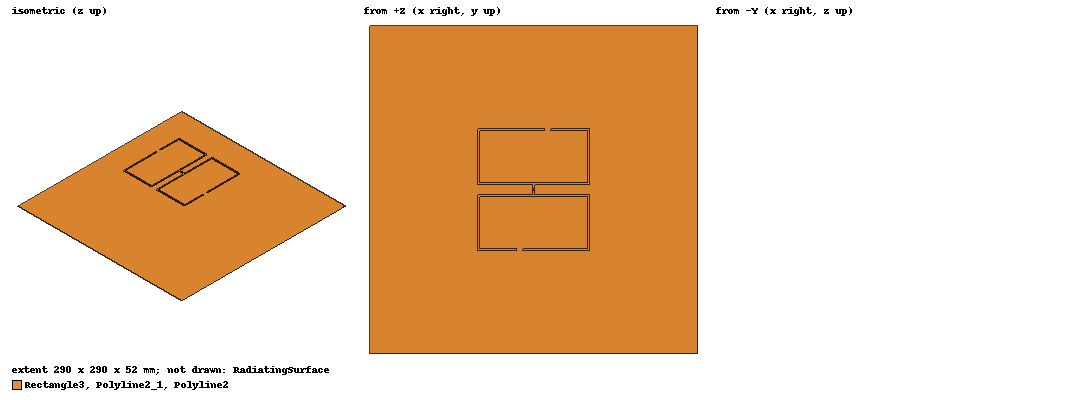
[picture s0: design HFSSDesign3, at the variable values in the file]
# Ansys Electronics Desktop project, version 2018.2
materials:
  copper: permeability=0.999991 conductivity=58000000
  vacuum: permittivity=1

design HFSSDesign3 (HFSS, DrivenModal, model units mm)
options: open_region{BoundaryType=0 OpFreq=1.5GHz}
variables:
  r1 = 1mm
  t = 290mm
  a = t/6
  b = 2*a
  w = 10mm
  deals = 5.9mm
  weizhi = a-(s-b)
  s = 157.4mm
  w_kui = 1mm
  h = 52mm
  lam = 300mm/0.6
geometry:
  RadiatingSurface [vacuum] = region(absolute_offset=66.666667mm on all sides)
  Rectangle1 = rectangle(corner=(-b/2-r1, -w/2+r1, 0mm), x_size=b+2*r1, y_size=-a-2*r1)
  Rectangle2 = rectangle(corner=(-b/2+r1, -w/2-r1, 0mm), x_size=b-r1*2, y_size=-a+r1*2)
  Rectangle1.subtract(Rectangle2)
  Polyline1 = polyline((weizhi, -130mm, 0mm) (weizhi, -20mm, 0mm), section rectangle width=deals height=0mm orient=Z)
  Rectangle1.subtract(Polyline1)
  Polyline2 [copper] = polyline((0mm, -w/2, 0mm) (0mm, -w_kui/2, 0mm), section rectangle width=2*r1 height=0mm orient=Z)
  Polyline2.unite(Rectangle1)
  Polyline2_1 [copper] = Polyline2.duplicate_around_axis(axis=Z, angle=180deg, total=2)
  Polyline3 [vacuum] = polyline((0mm, -w_kui/2, 0mm) (0mm, w_kui/2, 0mm), section rectangle width=2*r1 height=0mm orient=Z)
  Rectangle3 = rectangle(corner=(-t/2, -t/2, -h), x_size=t, y_size=t)
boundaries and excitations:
  AutoOpen1: Radiation Objects=RadiatingSurface
  FiniteCond1: Finite Conductivity Objects=Rectangle3 Conductivity=58000000 Permeability=1 IsInternal
  PerfE1: Perfect E Objects=[Polyline2, Polyline2_1]
  1: Lumped Port Objects=Polyline3 Modes{Mode1{IntLine{middle of Polyline3.edge(at (0, -0.5, 0)) -> middle of Polyline3.edge(at (0, 0.5, 0))} CharImp=Zpi RenormImp=50ohm}} Impedance=50ohm
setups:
  Auto1: HfssDriven Frequency=1.5GHz MaxDeltaS=0.02 MaximumPasses=20 MinimumPasses=1 MinimumConvergedPasses=1 PercentRefinement=30 BasisOrder=1 PortAccuracy=2
    sweep Sweep: 0.5GHz to 2GHz, 250 points; Type=Fast SaveFields
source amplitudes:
  1:1: 1W 0deg
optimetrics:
  ParametricSetup1: Parametric Sim._Setups=[Auto1]
    sweep h: LIN 26mm 78mm 1mm
  ParametricSetup2: Parametric Sim._Setups=[Auto1]
    sweep w: LIN 5mm 15mm 1mm
  ParametricSetup3: Parametric Sim._Setups=[Auto1]
    sweep t: LIN 145mm 435mm 20mm
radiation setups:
  3D: Infinite Sphere Theta=0deg..180deg step 2deg Phi=-180deg..180deg step 2deg
  Elevation: Infinite Sphere Theta=-180deg..180deg step 1deg Phi=0deg..90deg step 90deg
  Azimuth: Infinite Sphere Theta=90deg..90deg step 0deg Phi=-180deg..180deg step 1deg
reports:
  VSWR Plot 1: VSWR(1) vs Freq on Auto1 : Sweep; markers m1 at 1.5GHz, m3 at 1.4939759GHz
  S Parameter Chart 1: S(1,1) on Auto1 : Sweep [Freq=all]; markers m1 at 1.5GHz
  Axial Ratio Plot 1: dB(AxialRatioValue) vs Freq on Auto1 : Sweep, 3D [Phi=0deg Theta=0deg]; markers m1 at 1.5GHz, m2 at 1.4819277GHz
  Z Parameter Plot 1: re(Z(1,1)), im(Z(1,1)) vs Freq on Auto1 : Sweep; markers m1 at 1.5GHz, m2 at 1.5GHz
  Gain Plot 1: GainTotal vs Phi, Theta on Auto1 : LastAdaptive, 3D [Freq=1.5GHz]
  VSWR Plot 2: VSWR(1) vs h on Auto1 : Sweep [Freq=1.5GHz]; markers m1 at 58mm
  Axial Ratio Plot 2: dB(AxialRatioValue) vs h on Auto1 : LastAdaptive, 3D [Phi=0deg Freq=1.5GHz Theta=0deg]
  VSWR Plot 3: VSWR(1) vs w on Auto1 : Sweep [Freq=1.5GHz h=52mm]
